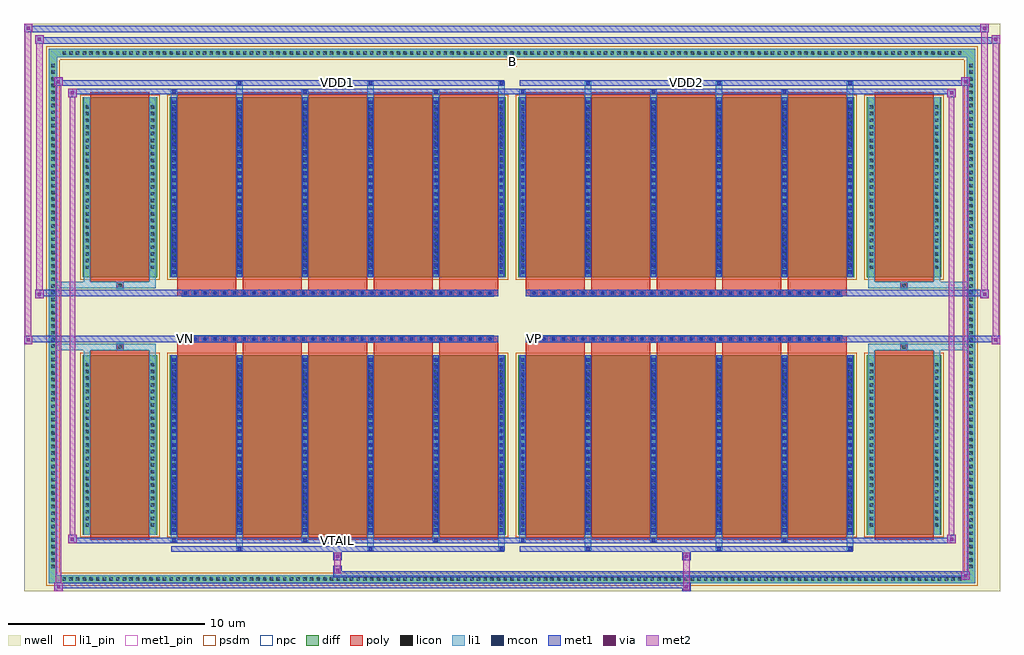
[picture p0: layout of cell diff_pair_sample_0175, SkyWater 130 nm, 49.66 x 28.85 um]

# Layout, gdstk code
import gdstk
lib = gdstk.Library(unit=1e-6, precision=5e-09)
def R(c, l, rs):  # rectangles x0, y0, x1, y1
    for r in rs: c.add(gdstk.rectangle(r[:2], r[2:], *l))
def A(c, l, x, y, w, h, nx, ny, dx, dy):  # array of equal rectangles
    R(c, l, [(x+i*dx, y+j*dy, x+i*dx+w, y+j*dy+h) for i in range(nx) for j in range(ny)])
def P(c, l, *ps):  # polygons
    for p in ps: c.add(gdstk.Polygon(p, *l))
nwell = (64, 20)
diff = (65, 20)
poly = (66, 20)
licon = (66, 44)
li1_pin = (67, 16)
li1 = (67, 20)
mcon = (67, 44)
met1_pin = (68, 16)
met1 = (68, 20)
via = (68, 44)
met2 = (69, 20)
psdm = (94, 20)
npc = (95, 20)

diff_pair_sample_0175 = lib.new_cell('diff_pair_sample_0175')
R(diff_pair_sample_0175, nwell, [(-24.83,-13.99,24.83,14.86), (-22.15,-12.18,-0.01,-0.8), (0.01,-12.18,22.15,-0.8), (-22.15,0.8,-0.01,12.18), (0.01,0.8,22.15,12.18)])
A(diff_pair_sample_0175, diff, -22.985, -13.59, 0.41, 0.41, 135, 2, 0.34, 26.77)
A(diff_pair_sample_0175, diff, -23.56, -12.955, 0.41, 0.41, 1, 76, 0, 0.34)
A(diff_pair_sample_0175, diff, 23.15, -12.955, 0.41, 0.41, 1, 76, 0, 0.34)
R(diff_pair_sample_0175, diff, [(-22.985,-13.59,22.985,-13.18), (-23.56,-12.955,-23.15,12.955), (23.15,-12.955,23.56,12.955), (-21.84,-11.135,-18.06,-1.985), (-17.42,-11.135,-0.32,-1.985), (0.32,-11.135,17.42,-1.985), (18.06,-11.135,21.84,-1.985), (-21.84,1.985,-18.06,11.135), (-17.42,1.985,-0.32,11.135), (0.32,1.985,17.42,11.135), (18.06,1.985,21.84,11.135), (-22.985,13.18,22.985,13.59)])
P(diff_pair_sample_0175, diff, [(23.56,13.59),(-23.56,13.59),(-23.56,-13.18),(-23.15,-13.18),(-23.15,13.18),(23.15,13.18),(23.15,-13.18),(-23.15,-13.18),(-23.56,-13.18),(-23.56,-13.59),(23.56,-13.59)])
A(diff_pair_sample_0175, poly, -17.03, -11.385, 3, 9.65, 5, 2, 3.33, 13.12)
A(diff_pair_sample_0175, poly, 0.71, -11.385, 3, 9.65, 5, 2, 3.33, 13.12)
A(diff_pair_sample_0175, poly, -17.03, -1.735, 3, 0.405, 5, 2, 3.33, 3.065)
A(diff_pair_sample_0175, poly, 0.71, -1.735, 3, 0.405, 5, 2, 3.33, 3.065)
A(diff_pair_sample_0175, poly, -16.785, -1.33, 0.33, 0.33, 32, 2, 0.5, 2.33)
A(diff_pair_sample_0175, poly, 0.955, -1.33, 0.33, 0.33, 32, 2, 0.5, 2.33)
R(diff_pair_sample_0175, poly, [(-21.45,-11.385,-18.45,-1.735), (18.45,-11.385,21.45,-1.735), (-20.115,-1.735,-19.785,-1.405), (-20.115,-1.735,-19.785,-1.405), (19.785,-1.735,20.115,-1.405), (19.785,-1.735,20.115,-1.405), (-17.03,-1.33,-0.71,-1), (0.71,-1.33,17.03,-1), (-17.03,1,-0.71,1.33), (0.71,1,17.03,1.33), (-20.115,1.405,-19.785,1.735), (-20.115,1.405,-19.785,1.735), (19.785,1.405,20.115,1.735), (19.785,1.405,20.115,1.735), (-21.45,1.735,-18.45,11.385), (18.45,1.735,21.45,11.385)])
A(diff_pair_sample_0175, licon, -22.865, -13.47, 0.17, 0.17, 135, 2, 0.34, 26.77)
A(diff_pair_sample_0175, licon, -23.44, -12.835, 0.17, 0.17, 1, 76, 0, 0.34)
A(diff_pair_sample_0175, licon, 23.27, -12.835, 0.17, 0.17, 1, 76, 0, 0.34)
A(diff_pair_sample_0175, licon, -21.7, -10.725, 0.17, 0.17, 1, 25, 0, 0.34)
A(diff_pair_sample_0175, licon, -18.37, -10.725, 0.17, 0.17, 1, 25, 0, 0.34)
A(diff_pair_sample_0175, licon, -17.28, -10.725, 0.17, 0.17, 6, 25, 3.33, 0.34)
A(diff_pair_sample_0175, licon, 0.46, -10.725, 0.17, 0.17, 6, 25, 3.33, 0.34)
A(diff_pair_sample_0175, licon, 18.2, -10.725, 0.17, 0.17, 1, 25, 0, 0.34)
A(diff_pair_sample_0175, licon, 21.53, -10.725, 0.17, 0.17, 1, 25, 0, 0.34)
A(diff_pair_sample_0175, licon, -16.705, -1.25, 0.17, 0.17, 32, 2, 0.5, 2.33)
A(diff_pair_sample_0175, licon, 1.035, -1.25, 0.17, 0.17, 32, 2, 0.5, 2.33)
A(diff_pair_sample_0175, licon, -21.7, 2.395, 0.17, 0.17, 1, 25, 0, 0.34)
A(diff_pair_sample_0175, licon, -18.37, 2.395, 0.17, 0.17, 1, 25, 0, 0.34)
A(diff_pair_sample_0175, licon, -17.28, 2.395, 0.17, 0.17, 6, 25, 3.33, 0.34)
A(diff_pair_sample_0175, licon, 0.46, 2.395, 0.17, 0.17, 6, 25, 3.33, 0.34)
A(diff_pair_sample_0175, licon, 18.2, 2.395, 0.17, 0.17, 1, 25, 0, 0.34)
A(diff_pair_sample_0175, licon, 21.53, 2.395, 0.17, 0.17, 1, 25, 0, 0.34)
R(diff_pair_sample_0175, licon, [(-20.035,-1.655,-19.865,-1.485), (19.865,-1.655,20.035,-1.485), (-20.035,1.485,-19.865,1.655), (19.865,1.485,20.035,1.655)])
R(diff_pair_sample_0175, li1_pin, [(-0.25,12.68,0.25,13.18)])
A(diff_pair_sample_0175, li1, -22.945, -13.55, 0.33, 0.33, 135, 2, 0.34, 26.77)
A(diff_pair_sample_0175, li1, -23.52, -12.915, 0.33, 0.33, 1, 76, 0, 0.34)
A(diff_pair_sample_0175, li1, 23.19, -12.915, 0.33, 0.33, 1, 76, 0, 0.34)
A(diff_pair_sample_0175, li1, -14.03, -11.94, 0.33, 0.805, 3, 2, 6.66, 23.075)
A(diff_pair_sample_0175, li1, -13.95, -11.94, 0.17, 0.17, 3, 2, 6.66, 23.71)
A(diff_pair_sample_0175, li1, 3.71, -11.94, 0.33, 0.805, 3, 2, 6.66, 23.075)
A(diff_pair_sample_0175, li1, 3.79, -11.94, 0.17, 0.17, 3, 2, 6.66, 23.71)
A(diff_pair_sample_0175, li1, -17.36, -11.51, 0.33, 0.375, 3, 2, 6.66, 22.645)
A(diff_pair_sample_0175, li1, -17.28, -11.51, 0.17, 0.17, 3, 2, 6.66, 22.85)
A(diff_pair_sample_0175, li1, 0.38, -11.51, 0.33, 0.375, 3, 2, 6.66, 22.645)
A(diff_pair_sample_0175, li1, 0.46, -11.51, 0.17, 0.17, 3, 2, 6.66, 22.85)
A(diff_pair_sample_0175, li1, -17.36, -11.135, 0.33, 9.15, 6, 2, 3.33, 13.12)
A(diff_pair_sample_0175, li1, 0.38, -11.135, 0.33, 9.15, 6, 2, 3.33, 13.12)
A(diff_pair_sample_0175, li1, -17.28, -10.965, 0.17, 0.17, 6, 25, 3.33, 0.36)
A(diff_pair_sample_0175, li1, -17.28, -10.965, 0.17, 8.81, 6, 2, 3.33, 13.12)
A(diff_pair_sample_0175, li1, 0.46, -10.965, 0.17, 0.17, 6, 25, 3.33, 0.36)
A(diff_pair_sample_0175, li1, 0.46, -10.965, 0.17, 8.81, 6, 2, 3.33, 13.12)
A(diff_pair_sample_0175, li1, -21.78, -10.805, 0.33, 0.33, 1, 25, 0, 0.34)
A(diff_pair_sample_0175, li1, -18.45, -10.805, 0.33, 0.33, 1, 25, 0, 0.34)
A(diff_pair_sample_0175, li1, -17.36, -10.805, 0.33, 0.33, 6, 25, 3.33, 0.34)
A(diff_pair_sample_0175, li1, 0.38, -10.805, 0.33, 0.33, 6, 25, 3.33, 0.34)
A(diff_pair_sample_0175, li1, 18.12, -10.805, 0.33, 0.33, 1, 25, 0, 0.34)
A(diff_pair_sample_0175, li1, 21.45, -10.805, 0.33, 0.33, 1, 25, 0, 0.34)
A(diff_pair_sample_0175, li1, -16.785, -1.33, 0.33, 0.33, 32, 2, 0.5, 2.33)
A(diff_pair_sample_0175, li1, 0.955, -1.33, 0.33, 0.33, 32, 2, 0.5, 2.33)
A(diff_pair_sample_0175, li1, -17.28, 2.155, 0.17, 0.17, 6, 25, 3.33, 0.36)
A(diff_pair_sample_0175, li1, 0.46, 2.155, 0.17, 0.17, 6, 25, 3.33, 0.36)
A(diff_pair_sample_0175, li1, -21.78, 2.315, 0.33, 0.33, 1, 25, 0, 0.34)
A(diff_pair_sample_0175, li1, -18.45, 2.315, 0.33, 0.33, 1, 25, 0, 0.34)
A(diff_pair_sample_0175, li1, -17.36, 2.315, 0.33, 0.33, 6, 25, 3.33, 0.34)
A(diff_pair_sample_0175, li1, 0.38, 2.315, 0.33, 0.33, 6, 25, 3.33, 0.34)
A(diff_pair_sample_0175, li1, 18.12, 2.315, 0.33, 0.33, 1, 25, 0, 0.34)
A(diff_pair_sample_0175, li1, 21.45, 2.315, 0.33, 0.33, 1, 25, 0, 0.34)
R(diff_pair_sample_0175, li1, [(-23.56,-13.59,-23.15,-13.18), (-23.56,-13.59,-23.15,-13.18), (-23.15,-13.59,23.15,-13.18), (23.15,-13.59,23.56,-13.18), (23.15,-13.59,23.56,-13.18), (-23.56,-13.18,-23.15,13.18), (23.15,-13.18,23.56,13.18), (-21.78,-11.135,-21.45,-1.985), (-18.45,-11.135,-18.12,-1.985), (18.12,-11.135,18.45,-1.985), (21.45,-11.135,21.78,-1.985), (-21.78,-1.985,-21.45,-1.405), (-18.45,-1.985,-18.12,-1.405), (18.12,-1.985,18.45,-1.405), (21.45,-1.985,21.78,-1.405), (-23.56,-1.735,-20.115,-1.405), (-21.78,-1.735,-20.115,-1.405), (-20.115,-1.735,-19.785,-1.405), (-19.785,-1.735,-18.12,-1.405), (18.12,-1.735,19.785,-1.405), (19.785,-1.735,20.115,-1.405), (19.785,-1.735,23.56,-1.405), (20.115,-1.735,21.78,-1.405), (-23.56,1.405,-20.115,1.735), (-21.78,1.405,-20.115,1.735), (-21.78,1.405,-21.45,1.985), (-20.115,1.405,-19.785,1.735), (-19.785,1.405,-18.12,1.735), (-18.45,1.405,-18.12,1.985), (18.12,1.405,19.785,1.735), (18.12,1.405,18.45,1.985), (19.785,1.405,20.115,1.735), (19.785,1.405,23.56,1.735), (20.115,1.405,21.78,1.735), (21.45,1.405,21.78,1.985), (-21.78,1.985,-21.45,11.135), (-18.45,1.985,-18.12,11.135), (18.12,1.985,18.45,11.135), (21.45,1.985,21.78,11.135), (-23.56,13.18,-23.15,13.59), (-23.56,13.18,-23.15,13.59), (-23.15,13.18,23.15,13.59), (23.15,13.18,23.56,13.59), (23.15,13.18,23.56,13.59)])
A(diff_pair_sample_0175, mcon, -13.95, -11.94, 0.17, 0.17, 3, 2, 6.66, 23.71)
A(diff_pair_sample_0175, mcon, 3.79, -11.94, 0.17, 0.17, 3, 2, 6.66, 23.71)
A(diff_pair_sample_0175, mcon, -17.28, -11.51, 0.17, 0.17, 3, 2, 6.66, 22.85)
A(diff_pair_sample_0175, mcon, 0.46, -11.51, 0.17, 0.17, 3, 2, 6.66, 22.85)
A(diff_pair_sample_0175, mcon, -17.28, -10.965, 0.17, 0.17, 6, 25, 3.33, 0.36)
A(diff_pair_sample_0175, mcon, 0.46, -10.965, 0.17, 0.17, 6, 25, 3.33, 0.36)
A(diff_pair_sample_0175, mcon, -16.705, -1.25, 0.17, 0.17, 32, 2, 0.5, 2.33)
A(diff_pair_sample_0175, mcon, 1.035, -1.25, 0.17, 0.17, 32, 2, 0.5, 2.33)
A(diff_pair_sample_0175, mcon, -17.28, 2.155, 0.17, 0.17, 6, 25, 3.33, 0.36)
A(diff_pair_sample_0175, mcon, 0.46, 2.155, 0.17, 0.17, 6, 25, 3.33, 0.36)
R(diff_pair_sample_0175, met1_pin, [(-9.005,-11.55,-8.735,-11.28), (-16.755,-1.29,-16.485,-1.02), (0.985,-1.29,1.255,-1.02), (-9.005,11.73,-8.735,12), (8.735,11.73,9.005,12)])
A(diff_pair_sample_0175, met1, -14.01, -12, 0.29, 0.29, 3, 2, 6.66, 23.71)
A(diff_pair_sample_0175, met1, 3.73, -12, 0.29, 0.29, 3, 2, 6.66, 23.71)
A(diff_pair_sample_0175, met1, -17.34, -11.57, 0.29, 0.29, 3, 2, 6.66, 22.85)
A(diff_pair_sample_0175, met1, 0.4, -11.57, 0.29, 0.29, 3, 2, 6.66, 22.85)
A(diff_pair_sample_0175, met1, -17.34, -11.135, 0.29, 9.15, 6, 2, 3.33, 13.12)
A(diff_pair_sample_0175, met1, 0.4, -11.135, 0.29, 9.15, 6, 2, 3.33, 13.12)
A(diff_pair_sample_0175, met1, -17.34, -11.025, 0.29, 0.29, 6, 25, 3.33, 0.36)
A(diff_pair_sample_0175, met1, 0.4, -11.025, 0.29, 0.29, 6, 25, 3.33, 0.36)
A(diff_pair_sample_0175, met1, -16.765, -1.31, 0.29, 0.29, 32, 2, 0.5, 2.33)
A(diff_pair_sample_0175, met1, 0.975, -1.31, 0.29, 0.29, 32, 2, 0.5, 2.33)
A(diff_pair_sample_0175, met1, -17.34, 2.095, 0.29, 0.29, 6, 25, 3.33, 0.36)
A(diff_pair_sample_0175, met1, 0.4, 2.095, 0.29, 0.29, 6, 25, 3.33, 0.36)
R(diff_pair_sample_0175, met1, [(-23.29,-13.99,-22.86,-13.56), (8.655,-13.99,9.085,-13.56), (-23.29,-13.85,9.085,-13.56), (22.86,-13.42,23.29,-12.99), (-9.085,-13.28,23.29,-12.99), (-9.085,-13.14,-8.655,-12.71), (-9.085,-12.43,-8.655,-12), (8.655,-12.43,9.085,-12), (-17.34,-12,-0.4,-11.71), (0.4,-12,17.34,-11.71), (-22.58,-11.57,-22.15,-11.14), (-22.58,-11.57,-17.34,-11.28), (-17.34,-11.57,-0.4,-11.28), (-0.4,-11.57,0.4,-11.28), (0.4,-11.57,17.34,-11.28), (17.34,-11.57,22.58,-11.28), (22.15,-11.57,22.58,-11.14), (-24.83,-1.43,-24.4,-1), (24.4,-1.43,24.83,-1), (-24.83,-1.33,-0.71,-1), (-17.03,-1.33,-0.71,-1), (0.71,-1.33,17.03,-1), (0.71,-1.33,24.83,-1), (-24.26,0.9,-23.83,1.33), (23.83,0.9,24.26,1.33), (-24.26,1,-17.03,1.33), (-17.03,1,-0.71,1.33), (0.71,1,17.03,1.33), (17.03,1,24.26,1.33), (-22.58,11.14,-22.15,11.57), (22.15,11.14,22.58,11.57), (-22.58,11.28,-17.34,11.57), (-17.34,11.28,-0.4,11.57), (-0.4,11.28,0.4,11.57), (0.4,11.28,17.34,11.57), (17.34,11.28,22.58,11.57), (-23.29,11.71,-22.86,12.14), (-23.29,11.71,-17.34,12), (-17.34,11.71,-0.4,12), (0.4,11.71,17.34,12), (17.34,11.71,23.29,12), (22.86,11.71,23.29,12.14), (-24.26,13.86,-23.83,14.29), (-24.26,13.86,-22.15,14.19), (-22.15,13.86,22.15,14.19), (22.15,13.86,24.83,14.19), (24.4,13.86,24.83,14.29), (-24.83,14.43,-24.4,14.86), (-24.83,14.43,-22.15,14.76), (-22.15,14.43,22.15,14.76), (22.15,14.43,24.26,14.76), (23.83,14.43,24.26,14.86)])
R(diff_pair_sample_0175, via, [(-23.15,-13.85,-23,-13.7), (8.795,-13.85,8.945,-13.7), (23,-13.28,23.15,-13.13), (-8.945,-13,-8.795,-12.85), (-8.945,-12.29,-8.795,-12.14), (8.795,-12.29,8.945,-12.14), (-22.44,-11.43,-22.29,-11.28), (22.29,-11.43,22.44,-11.28), (-24.69,-1.29,-24.54,-1.14), (24.54,-1.29,24.69,-1.14), (-24.12,1.04,-23.97,1.19), (23.97,1.04,24.12,1.19), (-22.44,11.28,-22.29,11.43), (22.29,11.28,22.44,11.43), (-23.15,11.85,-23,12), (23,11.85,23.15,12), (-24.12,14,-23.97,14.15), (24.54,14,24.69,14.15), (-24.69,14.57,-24.54,14.72), (23.97,14.57,24.12,14.72)])
R(diff_pair_sample_0175, met2, [(-23.29,-13.99,-22.86,-13.56), (-23.22,-13.99,-22.93,12.14), (-22.93,-13.99,-22.86,-13.56), (-23.24,-13.94,-22.91,-13.61), (8.705,-13.94,9.035,-13.61), (8.705,-13.61,9.035,-12.38), (22.86,-13.42,23.29,-12.99), (22.93,-13.42,23.22,12.14), (23.22,-13.42,23.29,-12.99), (22.91,-13.37,23.24,-13.04), (-9.035,-13.09,-8.705,-12.76), (-9.035,-12.76,-8.705,-12.38), (-9.035,-12.38,-8.705,-12.05), (8.705,-12.38,9.035,-12.05), (-22.58,-11.57,-22.15,-11.14), (-22.51,-11.57,-22.22,11.57), (-22.22,-11.57,-22.15,-11.14), (22.15,-11.57,22.58,-11.14), (22.22,-11.57,22.51,11.57), (22.51,-11.57,22.58,-11.14), (-22.53,-11.52,-22.2,-11.19), (22.2,-11.52,22.53,-11.19), (-24.83,-1.43,-24.4,-1), (-24.78,-1.43,-24.45,14.86), (-24.45,-1.43,-24.4,-1), (24.4,-1.43,24.83,-1), (24.45,-1.43,24.78,14.29), (24.78,-1.43,24.83,-1), (-24.78,-1.38,-24.45,-1.05), (24.45,-1.38,24.78,-1.05), (-24.26,0.9,-23.83,1.33), (-24.21,0.9,-23.88,14.29), (-23.88,0.9,-23.83,1.33), (23.83,0.9,24.26,1.33), (23.88,0.9,24.21,14.86), (24.21,0.9,24.26,1.33), (-24.21,0.95,-23.88,1.28), (23.88,0.95,24.21,1.28), (-22.58,11.14,-22.15,11.57), (-22.22,11.14,-22.15,11.57), (22.15,11.14,22.58,11.57), (22.51,11.14,22.58,11.57), (-22.53,11.19,-22.2,11.52), (22.2,11.19,22.53,11.52), (-23.29,11.71,-22.86,12.14), (-22.93,11.71,-22.86,12.14), (22.86,11.71,23.29,12.14), (23.22,11.71,23.29,12.14), (-23.24,11.76,-22.91,12.09), (22.91,11.76,23.24,12.09), (-24.26,13.86,-23.83,14.29), (-23.88,13.86,-23.83,14.29), (24.4,13.86,24.83,14.29), (24.78,13.86,24.83,14.29), (-24.21,13.91,-23.88,14.24), (24.45,13.91,24.78,14.24), (-24.83,14.43,-24.4,14.86), (-24.45,14.43,-24.4,14.86), (23.83,14.43,24.26,14.86), (24.21,14.43,24.26,14.86), (-24.78,14.48,-24.45,14.81), (23.88,14.48,24.21,14.81)])
R(diff_pair_sample_0175, psdm, [(-21.97,-11.265,-17.93,-1.855), (-17.55,-11.265,-0.19,-1.855), (0.19,-11.265,17.55,-1.855), (17.93,-11.265,21.97,-1.855), (-21.97,1.855,-17.93,11.265), (-17.55,1.855,-0.19,11.265), (0.19,1.855,17.55,11.265), (17.93,1.855,21.97,11.265)])
P(diff_pair_sample_0175, psdm, [(23.69,13.72),(-23.69,13.72),(-23.69,-13.05),(-23.02,-13.05),(-23.02,13.05),(23.02,13.05),(23.02,-13.05),(-23.02,-13.05),(-23.69,-13.05),(-23.69,-13.72),(23.69,-13.72)])
A(diff_pair_sample_0175, npc, -16.805, -1.35, 0.37, 0.37, 32, 2, 0.5, 2.33)
A(diff_pair_sample_0175, npc, 0.935, -1.35, 0.37, 0.37, 32, 2, 0.5, 2.33)
R(diff_pair_sample_0175, npc, [(-20.135,-1.755,-19.765,-1.385), (19.765,-1.755,20.135,-1.385), (-16.805,-1.35,-15.935,-0.98), (-16.805,-1.35,-15.935,-0.98), (-16.305,-1.35,-15.435,-0.98), (-16.305,-1.35,-15.435,-0.98), (-15.805,-1.35,-14.935,-0.98), (-15.805,-1.35,-14.935,-0.98), (-15.305,-1.35,-14.435,-0.98), (-15.305,-1.35,-14.435,-0.98), (-14.805,-1.35,-13.935,-0.98), (-14.805,-1.35,-13.935,-0.98), (-14.305,-1.35,-13.435,-0.98), (-14.305,-1.35,-13.435,-0.98), (-13.805,-1.35,-12.935,-0.98), (-13.805,-1.35,-12.935,-0.98), (-13.305,-1.35,-12.435,-0.98), (-13.305,-1.35,-12.435,-0.98), (-12.805,-1.35,-11.935,-0.98), (-12.805,-1.35,-11.935,-0.98), (-12.305,-1.35,-11.435,-0.98), (-12.305,-1.35,-11.435,-0.98), (-11.805,-1.35,-10.935,-0.98), (-11.805,-1.35,-10.935,-0.98), (-11.305,-1.35,-10.435,-0.98), (-11.305,-1.35,-10.435,-0.98), (-10.805,-1.35,-9.935,-0.98), (-10.805,-1.35,-9.935,-0.98), (-10.305,-1.35,-9.435,-0.98), (-10.305,-1.35,-9.435,-0.98), (-9.805,-1.35,-8.935,-0.98), (-9.805,-1.35,-8.935,-0.98), (-9.305,-1.35,-8.435,-0.98), (-9.305,-1.35,-8.435,-0.98), (-8.805,-1.35,-7.935,-0.98), (-8.805,-1.35,-7.935,-0.98), (-8.305,-1.35,-7.435,-0.98), (-8.305,-1.35,-7.435,-0.98), (-7.805,-1.35,-6.935,-0.98), (-7.805,-1.35,-6.935,-0.98), (-7.305,-1.35,-6.435,-0.98), (-7.305,-1.35,-6.435,-0.98), (-6.805,-1.35,-5.935,-0.98), (-6.805,-1.35,-5.935,-0.98), (-6.305,-1.35,-5.435,-0.98), (-6.305,-1.35,-5.435,-0.98), (-5.805,-1.35,-4.935,-0.98), (-5.805,-1.35,-4.935,-0.98), (-5.305,-1.35,-4.435,-0.98), (-5.305,-1.35,-4.435,-0.98), (-4.805,-1.35,-3.935,-0.98), (-4.805,-1.35,-3.935,-0.98), (-4.305,-1.35,-3.435,-0.98), (-4.305,-1.35,-3.435,-0.98), (-3.805,-1.35,-2.935,-0.98), (-3.805,-1.35,-2.935,-0.98), (-3.305,-1.35,-2.435,-0.98), (-3.305,-1.35,-2.435,-0.98), (-2.805,-1.35,-1.935,-0.98), (-2.805,-1.35,-1.935,-0.98), (-2.305,-1.35,-1.435,-0.98), (-2.305,-1.35,-1.435,-0.98), (-1.805,-1.35,-0.935,-0.98), (-1.805,-1.35,-0.935,-0.98), (0.935,-1.35,1.805,-0.98), (0.935,-1.35,1.805,-0.98), (1.435,-1.35,2.305,-0.98), (1.435,-1.35,2.305,-0.98), (1.935,-1.35,2.805,-0.98), (1.935,-1.35,2.805,-0.98), (2.435,-1.35,3.305,-0.98), (2.435,-1.35,3.305,-0.98), (2.935,-1.35,3.805,-0.98), (2.935,-1.35,3.805,-0.98), (3.435,-1.35,4.305,-0.98), (3.435,-1.35,4.305,-0.98), (3.935,-1.35,4.805,-0.98), (3.935,-1.35,4.805,-0.98), (4.435,-1.35,5.305,-0.98), (4.435,-1.35,5.305,-0.98), (4.935,-1.35,5.805,-0.98), (4.935,-1.35,5.805,-0.98), (5.435,-1.35,6.305,-0.98), (5.435,-1.35,6.305,-0.98), (5.935,-1.35,6.805,-0.98), (5.935,-1.35,6.805,-0.98), (6.435,-1.35,7.305,-0.98), (6.435,-1.35,7.305,-0.98), (6.935,-1.35,7.805,-0.98), (6.935,-1.35,7.805,-0.98), (7.435,-1.35,8.305,-0.98), (7.435,-1.35,8.305,-0.98), (7.935,-1.35,8.805,-0.98), (7.935,-1.35,8.805,-0.98), (8.435,-1.35,9.305,-0.98), (8.435,-1.35,9.305,-0.98), (8.935,-1.35,9.805,-0.98), (8.935,-1.35,9.805,-0.98), (9.435,-1.35,10.305,-0.98), (9.435,-1.35,10.305,-0.98), (9.935,-1.35,10.805,-0.98), (9.935,-1.35,10.805,-0.98), (10.435,-1.35,11.305,-0.98), (10.435,-1.35,11.305,-0.98), (10.935,-1.35,11.805,-0.98), (10.935,-1.35,11.805,-0.98), (11.435,-1.35,12.305,-0.98), (11.435,-1.35,12.305,-0.98), (11.935,-1.35,12.805,-0.98), (11.935,-1.35,12.805,-0.98), (12.435,-1.35,13.305,-0.98), (12.435,-1.35,13.305,-0.98), (12.935,-1.35,13.805,-0.98), (12.935,-1.35,13.805,-0.98), (13.435,-1.35,14.305,-0.98), (13.435,-1.35,14.305,-0.98), (13.935,-1.35,14.805,-0.98), (13.935,-1.35,14.805,-0.98), (14.435,-1.35,15.305,-0.98), (14.435,-1.35,15.305,-0.98), (14.935,-1.35,15.805,-0.98), (14.935,-1.35,15.805,-0.98), (15.435,-1.35,16.305,-0.98), (15.435,-1.35,16.305,-0.98), (15.935,-1.35,16.805,-0.98), (15.935,-1.35,16.805,-0.98), (-16.805,0.98,-15.935,1.35), (-16.805,0.98,-15.935,1.35), (-16.305,0.98,-15.435,1.35), (-16.305,0.98,-15.435,1.35), (-15.805,0.98,-14.935,1.35), (-15.805,0.98,-14.935,1.35), (-15.305,0.98,-14.435,1.35), (-15.305,0.98,-14.435,1.35), (-14.805,0.98,-13.935,1.35), (-14.805,0.98,-13.935,1.35), (-14.305,0.98,-13.435,1.35), (-14.305,0.98,-13.435,1.35), (-13.805,0.98,-12.935,1.35), (-13.805,0.98,-12.935,1.35), (-13.305,0.98,-12.435,1.35), (-13.305,0.98,-12.435,1.35), (-12.805,0.98,-11.935,1.35), (-12.805,0.98,-11.935,1.35), (-12.305,0.98,-11.435,1.35), (-12.305,0.98,-11.435,1.35), (-11.805,0.98,-10.935,1.35), (-11.805,0.98,-10.935,1.35), (-11.305,0.98,-10.435,1.35), (-11.305,0.98,-10.435,1.35), (-10.805,0.98,-9.935,1.35), (-10.805,0.98,-9.935,1.35), (-10.305,0.98,-9.435,1.35), (-10.305,0.98,-9.435,1.35), (-9.805,0.98,-8.935,1.35), (-9.805,0.98,-8.935,1.35), (-9.305,0.98,-8.435,1.35), (-9.305,0.98,-8.435,1.35), (-8.805,0.98,-7.935,1.35), (-8.805,0.98,-7.935,1.35), (-8.305,0.98,-7.435,1.35), (-8.305,0.98,-7.435,1.35), (-7.805,0.98,-6.935,1.35), (-7.805,0.98,-6.935,1.35), (-7.305,0.98,-6.435,1.35), (-7.305,0.98,-6.435,1.35), (-6.805,0.98,-5.935,1.35), (-6.805,0.98,-5.935,1.35), (-6.305,0.98,-5.435,1.35), (-6.305,0.98,-5.435,1.35), (-5.805,0.98,-4.935,1.35), (-5.805,0.98,-4.935,1.35), (-5.305,0.98,-4.435,1.35), (-5.305,0.98,-4.435,1.35), (-4.805,0.98,-3.935,1.35), (-4.805,0.98,-3.935,1.35), (-4.305,0.98,-3.435,1.35), (-4.305,0.98,-3.435,1.35), (-3.805,0.98,-2.935,1.35), (-3.805,0.98,-2.935,1.35), (-3.305,0.98,-2.435,1.35), (-3.305,0.98,-2.435,1.35), (-2.805,0.98,-1.935,1.35), (-2.805,0.98,-1.935,1.35), (-2.305,0.98,-1.435,1.35), (-2.305,0.98,-1.435,1.35), (-1.805,0.98,-0.935,1.35), (-1.805,0.98,-0.935,1.35), (0.935,0.98,1.805,1.35), (0.935,0.98,1.805,1.35), (1.435,0.98,2.305,1.35), (1.435,0.98,2.305,1.35), (1.935,0.98,2.805,1.35), (1.935,0.98,2.805,1.35), (2.435,0.98,3.305,1.35), (2.435,0.98,3.305,1.35), (2.935,0.98,3.805,1.35), (2.935,0.98,3.805,1.35), (3.435,0.98,4.305,1.35), (3.435,0.98,4.305,1.35), (3.935,0.98,4.805,1.35), (3.935,0.98,4.805,1.35), (4.435,0.98,5.305,1.35), (4.435,0.98,5.305,1.35), (4.935,0.98,5.805,1.35), (4.935,0.98,5.805,1.35), (5.435,0.98,6.305,1.35), (5.435,0.98,6.305,1.35), (5.935,0.98,6.805,1.35), (5.935,0.98,6.805,1.35), (6.435,0.98,7.305,1.35), (6.435,0.98,7.305,1.35), (6.935,0.98,7.805,1.35), (6.935,0.98,7.805,1.35), (7.435,0.98,8.305,1.35), (7.435,0.98,8.305,1.35), (7.935,0.98,8.805,1.35), (7.935,0.98,8.805,1.35), (8.435,0.98,9.305,1.35), (8.435,0.98,9.305,1.35), (8.935,0.98,9.805,1.35), (8.935,0.98,9.805,1.35), (9.435,0.98,10.305,1.35), (9.435,0.98,10.305,1.35), (9.935,0.98,10.805,1.35), (9.935,0.98,10.805,1.35), (10.435,0.98,11.305,1.35), (10.435,0.98,11.305,1.35), (10.935,0.98,11.805,1.35), (10.935,0.98,11.805,1.35), (11.435,0.98,12.305,1.35), (11.435,0.98,12.305,1.35), (11.935,0.98,12.805,1.35), (11.935,0.98,12.805,1.35), (12.435,0.98,13.305,1.35), (12.435,0.98,13.305,1.35), (12.935,0.98,13.805,1.35), (12.935,0.98,13.805,1.35), (13.435,0.98,14.305,1.35), (13.435,0.98,14.305,1.35), (13.935,0.98,14.805,1.35), (13.935,0.98,14.805,1.35), (14.435,0.98,15.305,1.35), (14.435,0.98,15.305,1.35), (14.935,0.98,15.805,1.35), (14.935,0.98,15.805,1.35), (15.435,0.98,16.305,1.35), (15.435,0.98,16.305,1.35), (15.935,0.98,16.805,1.35), (15.935,0.98,16.805,1.35), (-20.135,1.385,-19.765,1.755), (19.765,1.385,20.135,1.755)])
diff_pair_sample_0175.add(gdstk.Label('VTAIL', (-8.87,-11.415), layer=68, texttype=5))
diff_pair_sample_0175.add(gdstk.Label('VN', (-16.62,-1.155), layer=68, texttype=5))
diff_pair_sample_0175.add(gdstk.Label('VP', (1.12,-1.155), layer=68, texttype=5))
diff_pair_sample_0175.add(gdstk.Label('B', (0,12.93), layer=67, texttype=5))
diff_pair_sample_0175.add(gdstk.Label('VDD2', (8.87,11.865), layer=68, texttype=5))
diff_pair_sample_0175.add(gdstk.Label('VDD1', (-8.87,11.865), layer=68, texttype=5))

lib.write_gds('diff_pair_sample_0175.gds')
